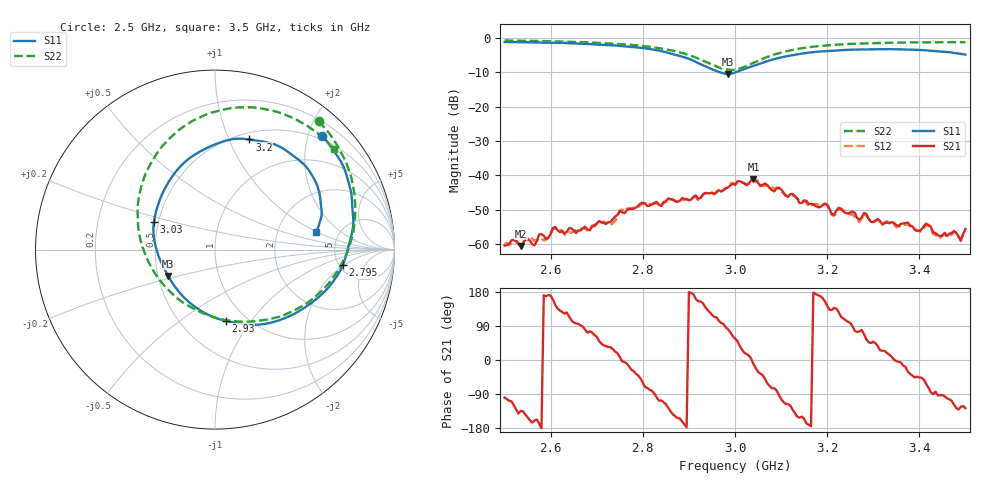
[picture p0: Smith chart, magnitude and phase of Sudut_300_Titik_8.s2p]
# Hz S RI R 50
! CMT, C1220, 16058040, 17.2.0/1
! Date: 15/08/2018 09:58:33
! Data: Format (Calibration Info)
! Freq  S11: Re/Im (F2)  S21: Re/Im (F2)  S12: Re/Im (F2)  S22: Re/Im (F2)
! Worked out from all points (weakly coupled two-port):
!   201 points, 2.5 GHz to 3.5 GHz, reference 50 ohm
!   highest |S21| = -41.09 dB at 3.04 GHz (marker M1); lowest = -60.5 dB at 2.535 GHz (marker M2)
!   lowest |S11| = -10.5 dB at 2.985 GHz (marker M3), VSWR 1.86, Z = 28.3 - j9.16 ohm
!   |S11| at or under -10 dB: 2.967 GHz to 3.001 GHz (34.07 MHz wide, 1.14 % of centre)
!   |S22| runs from -9.3 to -0.7 dB; largest |S21 - S12| = 0.0007
!   S11 on the Smith chart (normalised r, x): 2.5 GHz: 0.42, +2.24; 2.795 GHz: 5.39, -1.90; 2.93 GHz: 0.80, -0.76; 3.03 GHz: 0.47, +0.17; 3.2 GHz: 0.57, +1.19; 3.5 GHz: 3.36, +0.97
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2.5e9  0.5969 0.6356  -0.000149 -0.00094  -0.000154 -0.001  0.5774 0.7141
2.535e9  0.6384 0.5838  -0.000657 -0.000672  -0.000639 -0.000682  0.6162 0.671
2.61e9  0.7156 0.4623  -0.00145 0.00102  -0.00143 0.000928  0.6938 0.5575
2.67e9  0.7582 0.3205  7.5e-05 0.00171  0.000178 0.00168  0.7475 0.4403
2.73e9  0.7706 0.1507  0.00175 0.00116  0.00167 0.000895  0.7779 0.2887
2.75e9  0.7611 0.0842  0.00299 0.00042  0.00301 0.000821  0.7818 0.2283
2.795e9  0.7124 -0.0855  0.00258 -0.00294  0.00247 -0.0028  0.7656 0.0753
2.835e9  0.6106 -0.2344  -0.00111 -0.00357  -0.00104 -0.00353  0.7054 -0.0801
2.93e9  0.0587 -0.3968  -0.00458 0.0026  -0.00464 0.00232  0.2514 -0.395
2.985e9  -0.2607 -0.1475  0.00106 0.00659  0.000852 0.00673  -0.1774 -0.2956
3e9  -0.311 -0.0453  0.00401 0.00608  0.00434 0.00592  -0.2765 -0.207
3.03e9  -0.3406 0.1534  0.00744 0.00154  0.00748 0.00162  -0.4036 0.0128
3.04e9  -0.328 0.2149  0.00867 -0.00161  0.00895 -0.00137  -0.424 0.0946
3.105e9  -0.1396 0.5111  -0.002 -0.00529  -0.00195 -0.00515  -0.3266 0.5319
3.17e9  0.0965 0.6147  -0.00376 0.000123  -0.00383 -0.000203  -0.0739 0.7415
3.2e9  0.1913 0.6135  -0.00299 0.00224  -0.00287 0.00246  0.038 0.7774
3.21e9  0.2235 0.6086  -0.00183 0.00205  -0.00157 0.00214  0.0745 0.7855
3.23e9  0.2842 0.5986  -0.00136 0.00299  -0.00148 0.00292  0.1405 0.7927
3.335e9  0.5079 0.4619  0.00195 0.000496  0.00202 0.000317  0.4144 0.7422
3.415e9  0.5837 0.3045  0.00089 -0.00178  0.000897 -0.00166  0.5545 0.6608
3.49e9  0.5736 0.1211  -0.000614 -0.000931  -0.00067 -0.000958  0.6515 0.572
3.5e9  0.5631 0.097  -0.000996 -0.00133  -0.000984 -0.00116  0.6624 0.5599
